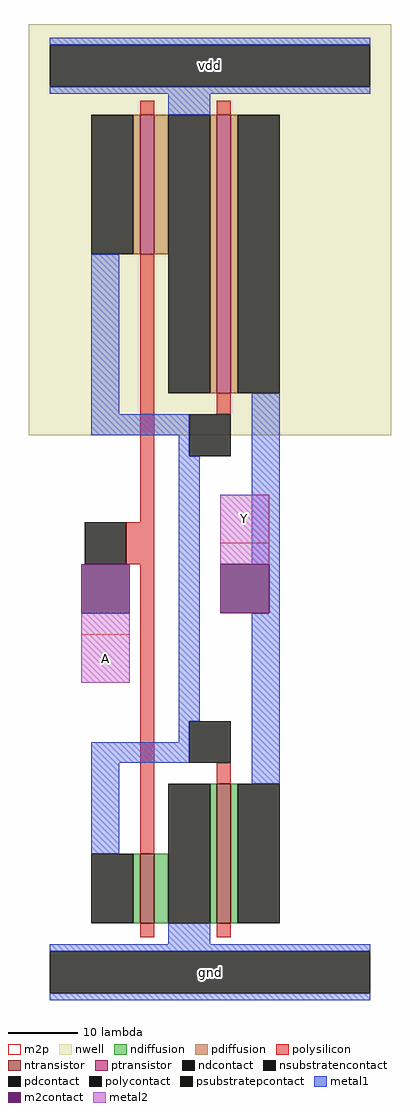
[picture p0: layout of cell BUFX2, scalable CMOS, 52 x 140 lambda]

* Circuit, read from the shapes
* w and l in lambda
.subckt BUFX2 A Y vdd gnd
M1 gnd A n1 gnd nfet w=10 l=2
M2 Y n1 gnd gnd nfet w=20 l=2
M3 vdd A n1 vdd pfet w=20 l=2
M4 Y n1 vdd vdd pfet w=40 l=2
.ends

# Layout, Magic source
magic
tech scmos
magscale 1 2
<< nwell >>
rect -12 154 92 272
<< ntransistor >>
rect 20 14 24 34
rect 42 14 46 54
<< ptransistor >>
rect 20 206 24 246
rect 42 166 46 246
<< ndiffusion >>
rect 18 14 20 34
rect 24 14 28 34
rect 40 14 42 54
rect 46 14 48 54
<< pdiffusion >>
rect 18 206 20 246
rect 24 206 28 246
rect 40 166 42 246
rect 46 166 48 246
<< ndcontact >>
rect 6 14 18 34
rect 28 14 40 54
rect 48 14 60 54
<< pdcontact >>
rect 6 206 18 246
rect 28 166 40 246
rect 48 166 60 246
<< psubstratepcontact >>
rect -6 -6 86 6
<< nsubstratencontact >>
rect -6 254 86 266
<< polysilicon >>
rect 20 246 24 250
rect 42 246 46 250
rect 20 129 24 206
rect 42 160 46 166
rect 16 117 24 129
rect 20 34 24 117
rect 42 54 46 60
rect 20 10 24 14
rect 42 10 46 14
<< polycontact >>
rect 34 148 46 160
rect 4 117 16 129
rect 34 60 46 72
<< metal1 >>
rect -6 266 86 268
rect -6 252 86 254
rect 28 246 40 252
rect 6 160 14 206
rect 6 154 34 160
rect 31 148 34 154
rect 31 72 37 148
rect 52 117 60 166
rect 57 103 60 117
rect 31 66 34 72
rect 6 60 34 66
rect 6 34 14 60
rect 52 54 60 103
rect 28 8 40 14
rect -6 6 86 8
rect -6 -8 86 -6
<< m2contact >>
rect 3 103 17 117
rect 43 103 57 117
<< metal2 >>
rect 43 117 57 137
rect 3 83 17 103
<< m2p >>
rect 43 123 57 137
rect 3 83 17 97
<< labels >>
rlabel metal2 3 83 17 97 0 A
port 0 nsew signal input
rlabel metal2 43 123 57 137 0 Y
port 1 nsew signal output
rlabel metal1 -6 252 86 268 0 vdd
port 2 nsew power bidirectional abutment
rlabel metal1 -6 -8 86 8 0 gnd
port 3 nsew ground bidirectional abutment
<< properties >>
string FIXED_BBOX 0 0 80 260
string LEFclass CORE
string LEFsite core
string LEFsymmetry X Y
<< end >>
